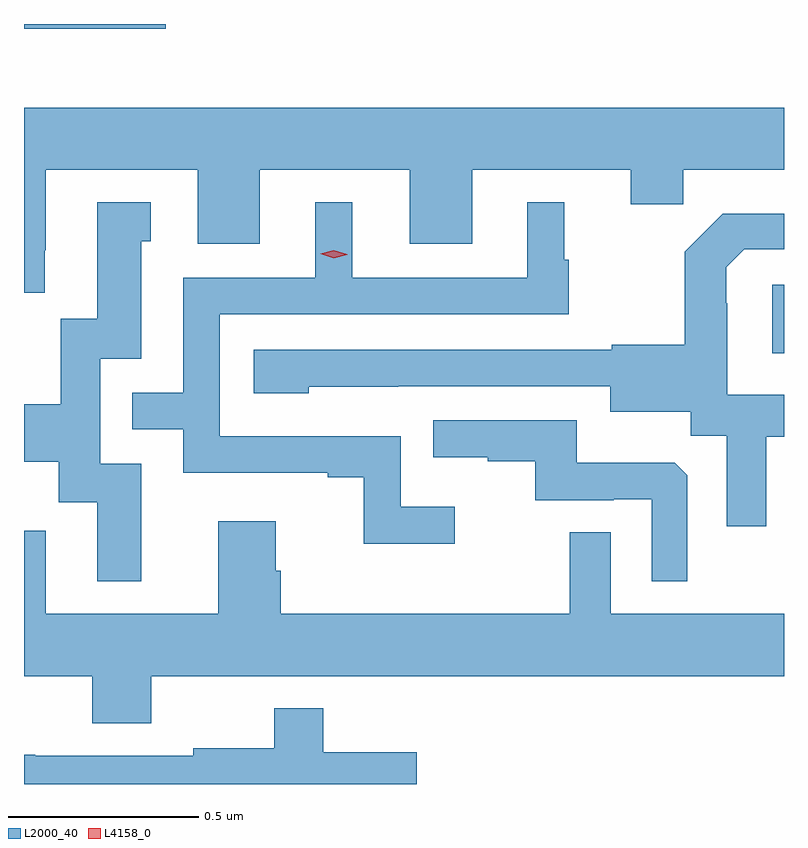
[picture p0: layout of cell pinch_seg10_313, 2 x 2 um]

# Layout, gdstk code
import gdstk
lib = gdstk.Library(unit=1e-6, precision=1e-09)
def R(c, l, rs):  # rectangles x0, y0, x1, y1
    for r in rs: c.add(gdstk.rectangle(r[:2], r[2:], *l))
def P(c, l, *ps):  # polygons
    for p in ps: c.add(gdstk.Polygon(p, *l))
L2000_40 = (2000, 40)
L4158_0 = (4158, 0)

pinch_seg10_313 = lib.new_cell('pinch_seg10_313')
R(pinch_seg10_313, L2000_40, [(480.557,1294.506,480.588,1294.686), (478.588,1295.36,478.961,1295.372)])
P(pinch_seg10_313, L2000_40, [(478.588,1294.665),(478.642,1294.665),(478.642,1294.777),(478.645,1294.777),(478.645,1294.988),(479.045,1294.988),(479.045,1294.794),(479.209,1294.794),(479.209,1294.988),(479.603,1294.988),(479.603,1294.794),(479.767,1294.794),(479.767,1294.988),(480.185,1294.988),(480.185,1294.898),(480.323,1294.898),(480.323,1294.988),(480.588,1294.988),(480.588,1295.152),(478.588,1295.152)],
  [(478.897,1294.215),(478.788,1294.215),(478.788,1294.491),(478.897,1294.491),(478.897,1294.8),(478.921,1294.8),(478.921,1294.903),(478.781,1294.903),(478.781,1294.596),(478.685,1294.596),(478.685,1294.372),(478.588,1294.372),(478.588,1294.22),(478.68,1294.22),(478.68,1294.114),(478.781,1294.114),(478.781,1293.906),(478.897,1293.906)],
  [(479.722,1294.102),(479.58,1294.102),(479.58,1294.287),(479.103,1294.287),(479.103,1294.608),(480.022,1294.608),(480.022,1294.752),(480.01,1294.752),(480.01,1294.903),(479.912,1294.903),(479.912,1294.704),(479.452,1294.704),(479.452,1294.903),(479.354,1294.903),(479.354,1294.704),(479.007,1294.704),(479.007,1294.401),(478.873,1294.401),(478.873,1294.305),(479.007,1294.305),(479.007,1294.191),(479.387,1294.191),(479.387,1294.179),(479.482,1294.179),(479.482,1294.004),(479.722,1294.004)],
  [(480.541,1294.286),(480.588,1294.286),(480.588,1294.396),(480.438,1294.396),(480.438,1294.637),(480.436,1294.637),(480.436,1294.732),(480.483,1294.779),(480.588,1294.779),(480.588,1294.873),(480.427,1294.873),(480.327,1294.773),(480.327,1294.528),(480.135,1294.528),(480.135,1294.515),(479.193,1294.515),(479.193,1294.4),(479.337,1294.4),(479.337,1294.418),(479.573,1294.418),(479.573,1294.419),(480.131,1294.419),(480.131,1294.352),(480.342,1294.352),(480.342,1294.288),(480.437,1294.288),(480.437,1294.05),(480.541,1294.05)],
  [(480.333,1294.185),(480.301,1294.217),(480.043,1294.217),(480.043,1294.329),(479.665,1294.329),(479.665,1294.232),(479.809,1294.232),(479.809,1294.221),(479.933,1294.221),(479.933,1294.119),(480.14,1294.119),(480.14,1294.122),(480.24,1294.122),(480.24,1293.905),(480.333,1293.905)],
  [(478.923,1293.656),(480.588,1293.656),(480.588,1293.82),(480.132,1293.82),(480.132,1294.034),(480.024,1294.034),(480.024,1293.82),(479.264,1293.82),(479.264,1293.933),(479.251,1293.933),(479.251,1294.063),(479.099,1294.063),(479.099,1293.82),(478.645,1293.82),(478.645,1294.039),(478.588,1294.039),(478.588,1293.656),(478.768,1293.656),(478.768,1293.532),(478.923,1293.532)],
  [(479.621,1293.455),(479.375,1293.455),(479.375,1293.571),(479.247,1293.571),(479.247,1293.466),(479.034,1293.466),(479.034,1293.447),(478.617,1293.447),(478.617,1293.449),(478.588,1293.449),(478.588,1293.372),(479.621,1293.372)])
P(pinch_seg10_313, L4158_0, [(479.403,1294.756),(479.368,1294.767),(479.367,1294.767),(479.368,1294.767),(479.403,1294.776),(479.438,1294.766),(479.439,1294.765),(479.438,1294.765)])

lib.write_gds('pinch_seg10_313.gds')
